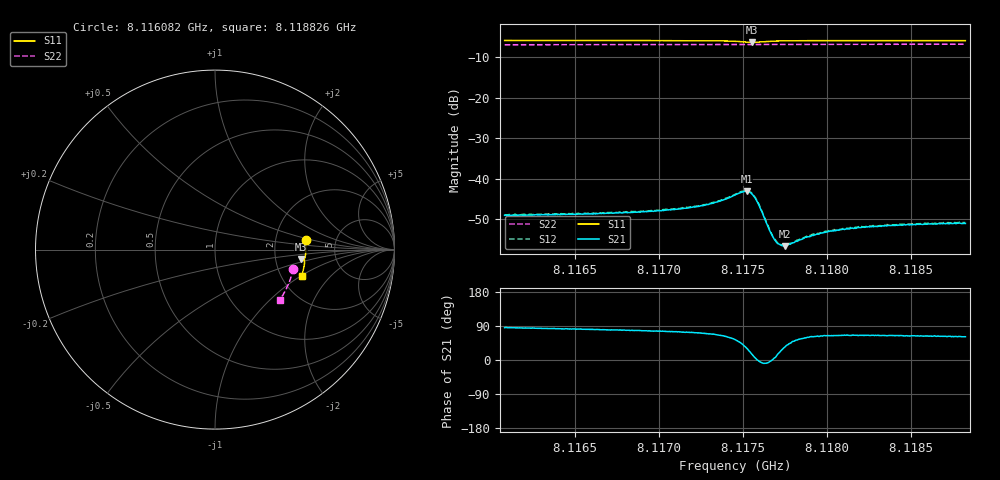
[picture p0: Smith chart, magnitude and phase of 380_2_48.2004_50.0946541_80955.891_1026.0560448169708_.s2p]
#  HZ  S  RI  R  50.00
! Rohde & Schwarz Vector Network Analyzer
! Rohde-Schwarz,ZNB20-2Port,1311601062101988,3.16
! Created: UTC 3/20/2024, 11:53:04 AM
! freq[Hz]  re:S11  im:S11  re:S21  im:S21  re:S12  im:S12  re:S22  im:S22
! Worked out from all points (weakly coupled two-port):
!   401 points, 8.116082 GHz to 8.118826 GHz, reference 50 ohm
!   highest |S21| = -43.15 dB at 8.117523 GHz (marker M1); lowest = -56.7 dB at 8.117749 GHz (marker M2)
!   lowest |S11| = -6.4 dB at 8.117557 GHz (marker M3), VSWR 2.85, Z = 140 - j18.8 ohm
!   |S11| at or under -10 dB: nowhere
!   |S22| runs from -7.0 to -6.8 dB; largest |S21 - S12| = 0.00018
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8.1160821e9  0.5045 0.0521  0.00029 0.00351  0.000347 0.00357  0.436 -0.1067
8.1165417e9  0.5063 0.0174  0.000539 0.0036  0.000613 0.00365  0.4285 -0.1379
8.1170013e9  0.5054 -0.0181  0.000951 0.00388  0.00102 0.00395  0.4187 -0.1682
8.1171591e9  0.504 -0.031  0.00126 0.00411  0.00129 0.00415  0.4149 -0.1788
8.1172689e9  0.5024 -0.0406  0.00156 0.00439  0.00165 0.00446  0.4119 -0.1858
8.1173512e9  0.4998 -0.0484  0.00207 0.00473  0.00215 0.00479  0.4096 -0.1912
8.1174541e9  0.4923 -0.0587  0.00369 0.00508  0.0038 0.00511  0.4067 -0.1978
8.1174952e9  0.4855 -0.0607  0.00499 0.00462  0.00515 0.00467  0.4051 -0.2002
8.1175227e9  0.4806 -0.0589  0.00593 0.00364  0.00608 0.00365  0.404 -0.2018
8.1175432e9  0.4778 -0.0551  0.0063 0.00244  0.00646 0.00245  0.4035 -0.2029
8.117557e9  0.4775 -0.0519  0.00621 0.00158  0.00634 0.00157  0.4032 -0.2034
8.1175707e9  0.4787 -0.049  0.00584 0.00073  0.00594 0.000708  0.4027 -0.2043
8.1175913e9  0.4818 -0.0459  0.00495 -0.000114  0.00502 -0.000166  0.4025 -0.2054
8.1176599e9  0.4935 -0.0487  0.00228 -0.000189  0.00234 -0.000228  0.4011 -0.2097
8.1176873e9  0.4958 -0.0521  0.00178 0.000155  0.00183 0.00012  0.4004 -0.2116
8.1177147e9  0.4973 -0.0552  0.00148 0.000483  0.0015 0.000455  0.3997 -0.2134
8.117749e9  0.4983 -0.0592  0.00122 0.000805  0.00123 0.000821  0.3985 -0.2156
8.1179137e9  0.4988 -0.0752  0.000944 0.00175  0.000985 0.00179  0.3934 -0.2261
8.1180097e9  0.4977 -0.0833  0.000956 0.002  0.00098 0.00203  0.3903 -0.2321
8.118092e9  0.4967 -0.0901  0.001 0.00213  0.00102 0.00217  0.3873 -0.2372
8.1183733e9  0.4921 -0.1117  0.00112 0.00238  0.00117 0.0024  0.3775 -0.2544
8.118826e9  0.4833 -0.1446  0.00134 0.00245  0.00138 0.00252  0.3599 -0.2808
